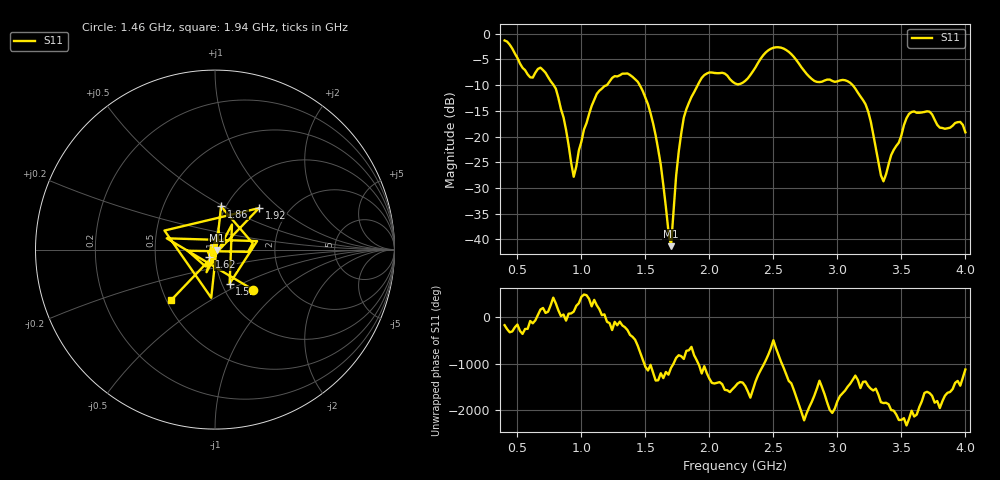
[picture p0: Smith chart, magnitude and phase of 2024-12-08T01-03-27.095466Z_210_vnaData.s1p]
!Created with skrf (http://scikit-rf.org).
# Hz S RI R 50.0
!freq ReS11 ImS11
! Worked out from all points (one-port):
!   181 points, 400 MHz to 4 GHz, reference 50 ohm
!   lowest |S11| = -41.3 dB at 1.7 GHz (marker M1), VSWR 1.02, Z = 50.8 - j0.175 ohm
!   |S11| at or under -10 dB: 783 MHz to 1.199 GHz (416.3 MHz wide, 42 % of centre); 1.456 GHz to 1.909 GHz (453 MHz wide, 26.9 % of centre); 3.119 GHz to end of sweep
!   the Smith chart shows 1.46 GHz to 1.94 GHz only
!   S11 on the Smith chart (normalised r, x): 1.46 GHz: 1.35, -0.67; 1.52 GHz: 1.09, -0.43; 1.62 GHz: 0.94, -0.08; 1.86 GHz: 0.95, +0.49; 1.92 GHz: 1.42, +0.74; 1.94 GHz: 0.53, -0.35
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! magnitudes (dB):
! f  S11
! 400 MHz  -1.3
! 600 MHz  -8.5
! 720 MHz  -7.6
! 800 MHz  -10.7
! 860 MHz  -16.2
! 940 MHz  -27.8
! 1.02 GHz  -18.6
! 1.12 GHz  -11.7
! 1.3 GHz  -8.1
! 1.46 GHz  -10.2
! 1.52 GHz  -13.7
! 1.62 GHz  -25.5
! 1.7 GHz  -41.3
! 1.76 GHz  -23.0
! 1.8 GHz  -16.3
! 1.86 GHz  -12.3
! 1.92 GHz  -9.5
! 1.94 GHz  -8.6
! 2.2 GHz  -9.7
! 2.48 GHz  -2.9
! 2.66 GHz  -4.5
! 2.82 GHz  -9.2
! 3.1 GHz  -9.5
! 3.24 GHz  -15.1
! 3.36 GHz  -28.7
! 3.56 GHz  -15.6
! 3.72 GHz  -15.2
! 4 GHz  -19.2
